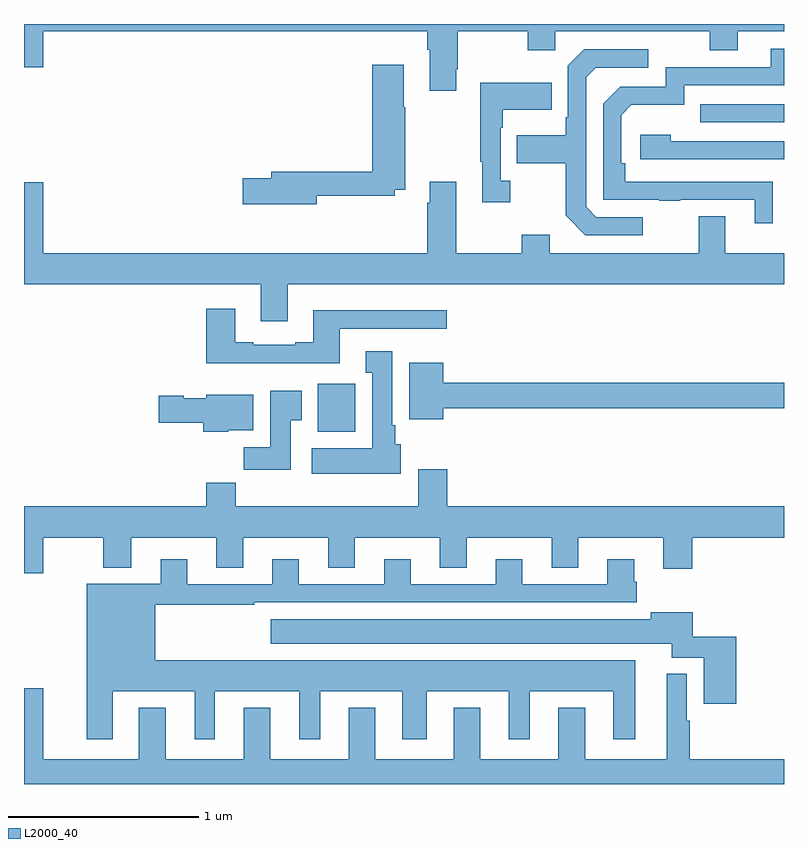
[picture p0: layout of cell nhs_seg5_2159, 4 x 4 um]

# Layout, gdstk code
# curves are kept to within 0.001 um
import gdstk
lib = gdstk.Library(unit=1e-6, precision=1e-09)
def R(c, l, rs):  # rectangles x0, y0, x1, y1
    for r in rs: c.add(gdstk.rectangle(r[:2], r[2:], *l))
def P(c, l, *ps):  # polygons
    for p in ps: c.add(gdstk.Polygon(p, *l))
L2000_40 = (2000, 40)

nhs_seg5_2159 = lib.new_cell('nhs_seg5_2159')
R(nhs_seg5_2159, L2000_40, [(238.547,854.654,238.743,854.905), (240.559,856.281,241,856.377)])
P(nhs_seg5_2159, L2000_40, [(239.275,856.561),(239.283,856.561),(239.283,856.76),(239.65,856.76),(239.65,856.661),(239.796,856.661),(239.796,856.76),(240.61,856.76),(240.61,856.661),(240.757,856.661),(240.757,856.76),(241,856.76),(241,856.799),(237,856.799),(237,856.572),(237.1,856.572),(237.1,856.76),(239.123,856.76),(239.123,856.664),(239.135,856.664),(239.135,856.449),(239.275,856.449)],
  [(240.941,855.968),(240.164,855.969),(240.164,856.066),(240.144,856.066),(240.144,856.32),(240.197,856.373),(240.474,856.373),(240.474,856.476),(241,856.476),(241,856.668),(240.929,856.668),(240.929,856.572),(240.378,856.572),(240.378,856.47),(240.138,856.47),(240.048,856.38),(240.048,855.873),(240.343,855.873),(240.343,855.868),(240.455,855.868),(240.455,855.873),(240.845,855.873),(240.845,855.75),(240.941,855.75)],
  [(240.256,855.783),(240.012,855.783),(239.958,855.837),(239.958,856.518),(240.009,856.569),(240.286,856.569),(240.286,856.665),(239.949,856.665),(239.862,856.578),(239.862,856.309),(239.85,856.309),(239.85,856.213),(239.593,856.213),(239.593,856.066),(239.85,856.066),(239.85,855.793),(239.955,855.687),(240.256,855.687)],
  [(238.54,855.894),(238.95,855.894),(238.95,855.926),(239.007,855.926),(239.007,856.361),(238.999,856.361),(238.999,856.585),(238.832,856.585),(238.832,856.022),(238.301,856.022),(238.301,855.986),(238.152,855.986),(238.152,855.851),(238.54,855.851)],
  [(239.56,855.974),(239.508,855.974),(239.508,856.253),(239.521,856.253),(239.521,856.349),(239.777,856.349),(239.777,856.489),(239.4,856.489),(239.4,856.073),(239.411,856.073),(239.411,855.861),(239.56,855.861)],
  [(241,856.182),(240.404,856.182),(240.404,856.216),(240.243,856.216),(240.243,856.086),(241,856.086)],
  [(238.387,855.428),(241,855.428),(241,855.592),(240.691,855.592),(240.691,855.787),(240.551,855.787),(240.551,855.592),(239.767,855.592),(239.767,855.691),(239.62,855.691),(239.62,855.592),(239.275,855.592),(239.275,855.97),(239.135,855.97),(239.135,855.857),(239.123,855.857),(239.123,855.592),(237.1,855.592),(237.1,855.967),(237,855.967),(237,855.428),(238.247,855.428),(238.247,855.234),(238.387,855.234)],
  [(238.663,855.195),(239.224,855.195),(239.224,855.292),(238.523,855.292),(238.523,855.124),(238.427,855.124),(238.427,855.111),(238.207,855.111),(238.207,855.124),(238.111,855.124),(238.111,855.301),(237.959,855.301),(237.959,855.014),(238.663,855.014)],
  [(238.984,854.586),(238.954,854.586),(238.954,854.686),(238.939,854.686),(238.939,855.076),(238.799,855.076),(238.799,854.963),(238.832,854.963),(238.832,854.566),(238.515,854.566),(238.515,854.432),(238.984,854.432)],
  [(239.206,854.776),(241,854.776),(241,854.912),(239.206,854.912),(239.206,855.016),(239.027,855.016),(239.027,854.72),(239.206,854.72)],
  [(238.405,854.713),(238.462,854.713),(238.462,854.869),(238.295,854.869),(238.295,854.572),(238.156,854.572),(238.156,854.454),(238.405,854.454)],
  [(238.074,854.66),(238.207,854.66),(238.207,854.848),(237.96,854.848),(237.96,854.83),(237.84,854.83),(237.84,854.843),(237.708,854.843),(237.708,854.701),(237.944,854.701),(237.944,854.654),(238.074,854.654)],
  [(238.115,854.384),(237.959,854.384),(237.959,854.26),(237,854.26),(237,853.908),(237.1,853.908),(237.1,854.096),(237.418,854.096),(237.418,853.937),(237.565,853.937),(237.565,854.096),(238.013,854.096),(238.013,853.936),(238.153,853.936),(238.153,854.096),(238.601,854.096),(238.601,853.936),(238.741,853.936),(238.741,854.096),(239.189,854.096),(239.189,853.936),(239.329,853.936),(239.329,854.096),(239.777,854.096),(239.777,853.936),(239.917,853.936),(239.917,854.096),(240.365,854.096),(240.365,853.932),(240.518,853.932),(240.518,854.096),(241,854.096),(241,854.26),(239.228,854.26),(239.228,854.455),(239.075,854.455),(239.075,854.26),(238.115,854.26)],
  [(237.466,853.286),(237.899,853.286),(237.899,853.035),(238.003,853.035),(238.003,853.286),(238.448,853.286),(238.448,853.035),(238.558,853.035),(238.558,853.286),(238.991,853.286),(238.991,853.035),(239.119,853.035),(239.119,853.286),(239.552,853.286),(239.552,853.035),(239.662,853.035),(239.662,853.286),(240.101,853.286),(240.101,853.035),(240.217,853.035),(240.217,853.45),(237.691,853.45),(237.691,853.743),(238.211,853.743),(238.211,853.755),(240.224,853.755),(240.224,853.863),(240.211,853.863),(240.211,853.981),(240.071,853.981),(240.071,853.851),(239.623,853.851),(239.623,853.981),(239.483,853.981),(239.483,853.851),(239.035,853.851),(239.035,853.981),(238.895,853.981),(238.895,853.851),(238.447,853.851),(238.447,853.981),(238.307,853.981),(238.307,853.851),(237.859,853.851),(237.859,853.981),(237.719,853.981),(237.719,853.852),(237.329,853.852),(237.329,853.035),(237.466,853.035)],
  [(240.749,853.573),(240.52,853.573),(240.52,853.702),(240.299,853.702),(240.299,853.666),(238.299,853.666),(238.299,853.538),(240.41,853.538),(240.41,853.463),(240.578,853.463),(240.578,853.221),(240.749,853.221)],
  [(241,852.928),(240.505,852.928),(240.505,853.133),(240.487,853.133),(240.487,853.378),(240.383,853.378),(240.383,852.928),(239.953,852.928),(239.953,853.201),(239.813,853.201),(239.813,852.928),(239.401,852.928),(239.401,853.201),(239.261,853.201),(239.261,852.928),(238.849,852.928),(238.849,853.201),(238.709,853.201),(238.709,852.928),(238.297,852.928),(238.297,853.201),(238.157,853.201),(238.157,852.928),(237.745,852.928),(237.745,853.201),(237.605,853.201),(237.605,852.928),(237.1,852.928),(237.1,853.303),(237,853.303),(237,852.799),(241,852.799)])

lib.write_gds('nhs_seg5_2159.gds')
